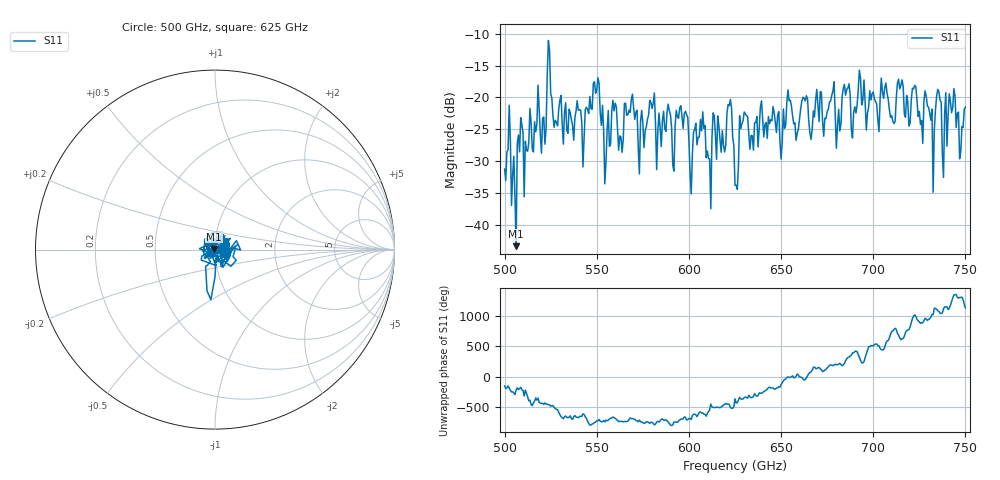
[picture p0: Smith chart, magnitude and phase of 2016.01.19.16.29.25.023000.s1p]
!Created with skrf (http://scikit-rf.org).
# GHz S RI R 50.0
!freq ReS11 ImS11
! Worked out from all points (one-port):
!   401 points, 500 GHz to 750 GHz, reference 50 ohm
!   lowest |S11| = -43.4 dB at 506.2 GHz (marker M1), VSWR 1.01, Z = 49.4 + j0.381 ohm
!   |S11| at or under -10 dB: start of sweep to end of sweep
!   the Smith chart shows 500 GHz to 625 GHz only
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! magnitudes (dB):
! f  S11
! 500 GHz  -31.3
! 506.2 GHz  -43.4
! 508.8 GHz  -23.2
! 521.2 GHz  -23.1
! 524.4 GHz  -12.6
! 527.5 GHz  -23.6
! 531.2 GHz  -24.3
! 543.1 GHz  -26.4
! 550 GHz  -18.9
! 553.8 GHz  -25.3
! 559.4 GHz  -22.1
! 562.5 GHz  -26.1
! 568.8 GHz  -20.3
! 573.8 GHz  -23.8
! 593.8 GHz  -23.0
! 601.2 GHz  -35.2
! 607.5 GHz  -22.3
! 610.6 GHz  -29.6
! 621.9 GHz  -21.3
! 625 GHz  -33.8
! 630.6 GHz  -22.6
! 656.2 GHz  -22.9
! 687.5 GHz  -19.6
! 705.6 GHz  -20.2
! 710.6 GHz  -23.8
! 714.4 GHz  -18.7
! 718.8 GHz  -20.7
! 750 GHz  -21.6
